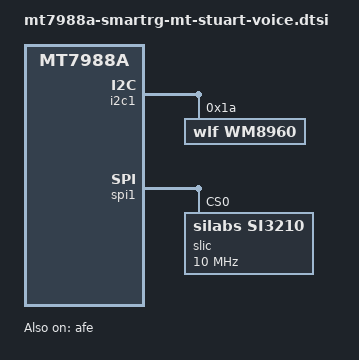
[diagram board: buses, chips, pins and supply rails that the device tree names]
// SPDX-License-Identifier: (GPL-2.0 OR MIT)
/*
 * Copyright (C) 2023 SmartRG Inc.
 * Author: Chad Monroe <chad.monroe@smartrg.com>
 */

/ {
	sound_wm8960 {
		compatible = "mediatek,mt7986-wm8960-sound";
		audio-routing =
				"Headphone", "HP_L",
				"Headphone", "HP_R",
				"LINPUT1", "AMIC",
				"RINPUT1", "AMIC";
		status = "disabled";

		platform {
			sound-dai = <&afe>;
		};

		codec {
			sound-dai = <&wm8960>;
		};
	};

	dummy_codec: dummy_codec {
		compatible = "d2,slic-dummy-codec";
	};

	sound_si3218x {
		compatible = "mediatek,mt7986-si3218x-sound";
		status = "okay";

		platform {
			sound-dai = <&afe>;
		};

		codec {
			sound-dai = <&dummy_codec>;
		};
	};
};

&afe {
	compatible = "mediatek,mt7986-afe";

	pinctrl-names = "default";
	pinctrl-0 = <&pcm_pins>;
	status = "okay";
};

&i2c1 {
	wm8960: wm8960@1a {
		compatible = "wlf,wm8960";
		reg = <0x1a>;
	};
};

&pio {
	i2s_pins: i2s-pins {
		mux {
			function = "audio";
			groups = "i2s";
		};
	};

	pcm_pins: pcm-pins {
		mux {
			function = "audio";
			groups = "pcm";
		};
	};
};

&spi1 {
	pinctrl-names = "default";
	pinctrl-0 = <&spi1_pins>;
	status = "okay";

	/* override clock names until this is synced upstream */
	clock-names = "parent-clk", "sel-clk", "spi-clk", "hclk";

	slic: slic@0 {
		compatible = "silabs,si3210";
		spi-max-frequency = <10000000>;
		reg = <0>;
	};
};
